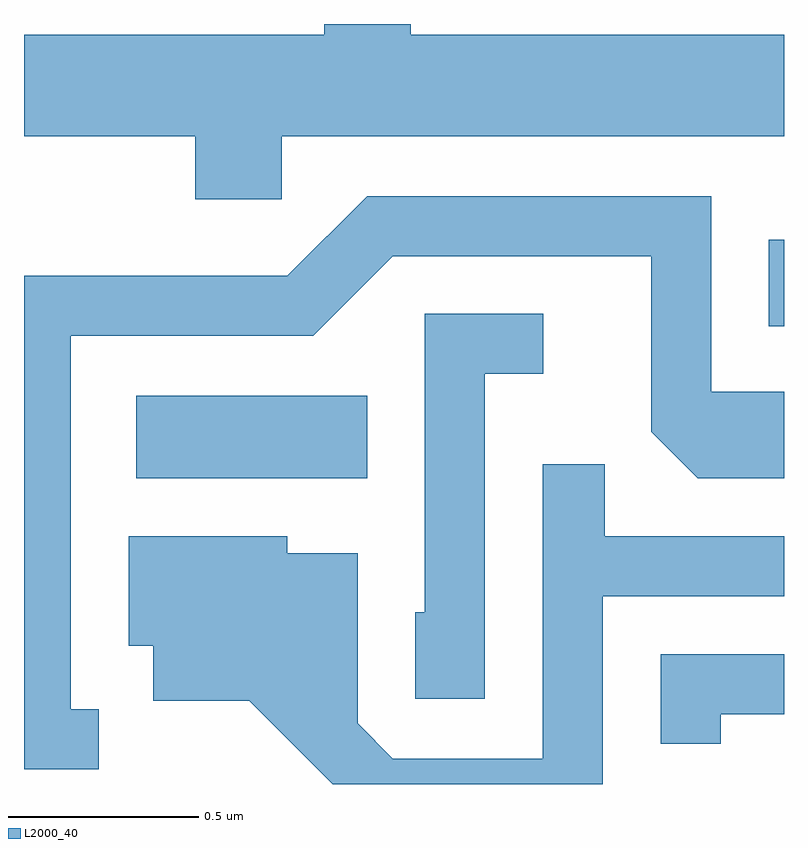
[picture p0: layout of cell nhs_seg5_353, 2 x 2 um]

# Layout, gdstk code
import gdstk
lib = gdstk.Library(unit=1e-6, precision=1e-09)
def R(c, l, rs):  # rectangles x0, y0, x1, y1
    for r in rs: c.add(gdstk.rectangle(r[:2], r[2:], *l))
def P(c, l, *ps):  # polygons
    for p in ps: c.add(gdstk.Polygon(p, *l))
L2000_40 = (2000, 40)

nhs_seg5_353 = lib.new_cell('nhs_seg5_353')
R(nhs_seg5_353, L2000_40, [(187.906,1475.876,188.514,1476.094), (189.571,1476.276,189.611,1476.504)])
P(nhs_seg5_353, L2000_40, [(188.289,1476.776),(189.611,1476.776),(189.611,1477.044),(188.629,1477.044),(188.629,1477.072),(188.401,1477.072),(188.401,1477.044),(187.611,1477.044),(187.611,1476.776),(188.061,1476.776),(188.061,1476.611),(188.289,1476.611)],
  [(187.808,1475.269),(187.734,1475.269),(187.734,1476.251),(188.372,1476.251),(188.582,1476.461),(189.261,1476.461),(189.261,1475.999),(189.384,1475.876),(189.611,1475.876),(189.611,1476.104),(189.419,1476.104),(189.419,1476.619),(188.514,1476.619),(188.304,1476.409),(187.611,1476.409),(187.611,1475.111),(187.808,1475.111)],
  [(188.824,1476.151),(188.978,1476.151),(188.978,1476.309),(188.666,1476.309),(188.666,1475.524),(188.641,1475.524),(188.641,1475.296),(188.824,1475.296)],
  [(189.134,1475.566),(189.611,1475.566),(189.611,1475.724),(189.139,1475.724),(189.139,1475.913),(188.976,1475.913),(188.976,1475.139),(188.582,1475.139),(188.489,1475.232),(188.489,1475.679),(188.304,1475.679),(188.304,1475.724),(187.886,1475.724),(187.886,1475.436),(187.951,1475.436),(187.951,1475.291),(188.204,1475.291),(188.423,1475.072),(189.134,1475.072)],
  [(189.444,1475.256),(189.611,1475.256),(189.611,1475.414),(189.286,1475.414),(189.286,1475.178),(189.444,1475.178)])

lib.write_gds('nhs_seg5_353.gds')
